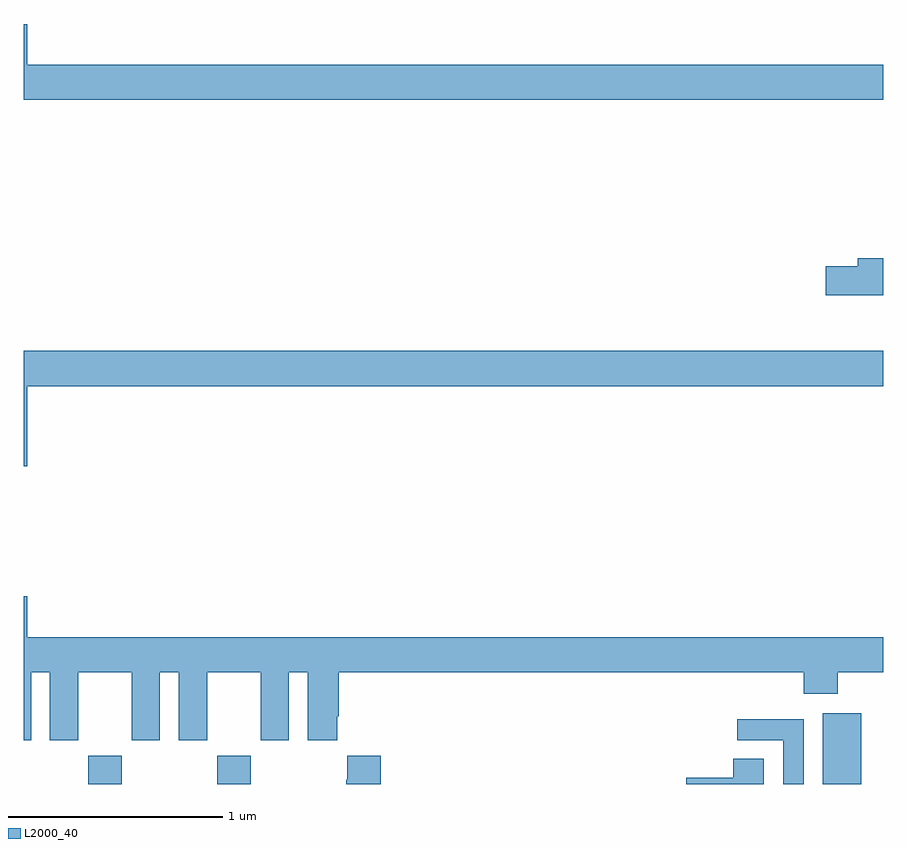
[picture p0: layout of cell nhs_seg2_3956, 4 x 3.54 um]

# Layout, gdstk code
import gdstk
lib = gdstk.Library(unit=1e-6, precision=1e-09)
def R(c, l, rs):  # rectangles x0, y0, x1, y1
    for r in rs: c.add(gdstk.rectangle(r[:2], r[2:], *l))
def P(c, l, *ps):  # polygons
    for p in ps: c.add(gdstk.Polygon(p, *l))
L2000_40 = (2000, 40)

nhs_seg2_3956 = lib.new_cell('nhs_seg2_3956')
R(nhs_seg2_3956, L2000_40, [(321.301,629.8,321.456,629.932), (321.901,629.8,322.056,629.932), (324.719,629.8,324.898,630.13)])
P(nhs_seg2_3956, L2000_40, [(325,633.148),(321.016,633.148),(321.016,633.337),(321,633.337),(321,632.984),(325,632.984)],
  [(325,632.246),(324.881,632.246),(324.881,632.21),(324.732,632.21),(324.732,632.075),(325,632.075)],
  [(321.016,631.652),(325,631.652),(325,631.816),(321,631.816),(321,631.278),(321.016,631.278)],
  [(321.034,630.32),(321.122,630.32),(321.122,630.003),(321.253,630.003),(321.253,630.32),(321.503,630.32),(321.503,630.003),(321.634,630.003),(321.634,630.32),(321.722,630.32),(321.722,630.003),(321.853,630.003),(321.853,630.32),(322.103,630.32),(322.103,630.003),(322.234,630.003),(322.234,630.32),(322.322,630.32),(322.322,630.003),(322.459,630.003),(322.459,630.115),(322.466,630.115),(322.466,630.32),(324.629,630.32),(324.629,630.221),(324.789,630.221),(324.789,630.32),(325,630.32),(325,630.484),(321.016,630.484),(321.016,630.673),(321,630.673),(321,630.003),(321.034,630.003)],
  [(324.63,630.102),(324.321,630.102),(324.321,630.003),(324.534,630.003),(324.534,629.8),(324.63,629.8)],
  [(322.661,629.932),(322.505,629.932),(322.505,629.819),(322.501,629.819),(322.501,629.8),(322.661,629.8)],
  [(324.445,629.918),(324.302,629.918),(324.302,629.828),(324.084,629.828),(324.084,629.8),(324.445,629.8)])

lib.write_gds('nhs_seg2_3956.gds')
